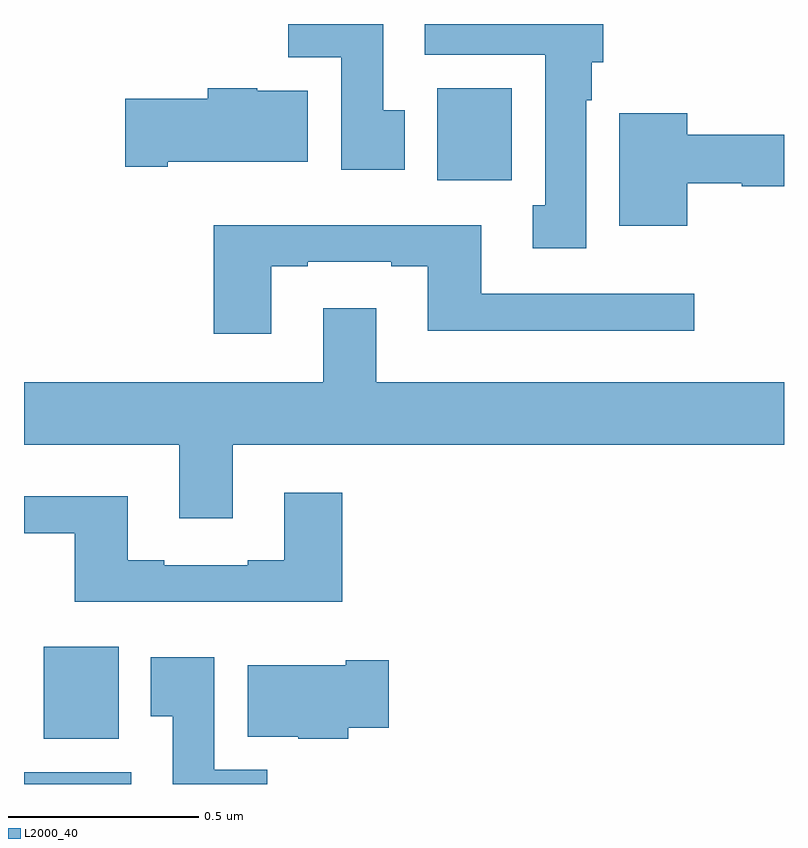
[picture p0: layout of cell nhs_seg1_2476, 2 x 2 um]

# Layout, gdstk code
import gdstk
lib = gdstk.Library(unit=1e-6, precision=1e-09)
def R(c, l, rs):  # rectangles x0, y0, x1, y1
    for r in rs: c.add(gdstk.rectangle(r[:2], r[2:], *l))
def P(c, l, *ps):  # polygons
    for p in ps: c.add(gdstk.Polygon(p, *l))
L2000_40 = (2000, 40)

nhs_seg1_2476 = lib.new_cell('nhs_seg1_2476')
R(nhs_seg1_2476, L2000_40, [(142,524.199,142.282,524.23), (142.052,524.318,142.249,524.56), (143.087,525.788,143.284,526.03)])
P(nhs_seg1_2476, L2000_40, [(143.479,525.998),(143.494,525.998),(143.494,526.098),(143.524,526.098),(143.524,526.199),(143.055,526.199),(143.055,526.118),(143.372,526.118),(143.372,525.722),(143.339,525.722),(143.339,525.609),(143.479,525.609)],
  [(143.002,525.972),(142.945,525.972),(142.945,526.199),(142.696,526.199),(142.696,526.112),(142.835,526.112),(142.835,525.816),(143.002,525.816)],
  [(142.378,525.836),(142.747,525.836),(142.747,526.024),(142.614,526.024),(142.614,526.03),(142.484,526.03),(142.484,526.002),(142.266,526.002),(142.266,525.824),(142.378,525.824)],
  [(143.746,525.78),(143.889,525.78),(143.889,525.772),(144,525.772),(144,525.908),(143.746,525.908),(143.746,525.964),(143.567,525.964),(143.567,525.668),(143.746,525.668)],
  [(142.651,525.561),(142.747,525.561),(142.747,525.573),(142.967,525.573),(142.967,525.561),(143.063,525.561),(143.063,525.392),(143.764,525.392),(143.764,525.489),(143.203,525.489),(143.203,525.67),(142.499,525.67),(142.499,525.384),(142.651,525.384)],
  [(142.549,525.092),(144,525.092),(144,525.256),(142.927,525.256),(142.927,525.451),(142.787,525.451),(142.787,525.256),(142,525.256),(142,525.092),(142.409,525.092),(142.409,524.898),(142.549,524.898)],
  [(142.838,524.965),(142.685,524.965),(142.685,524.788),(142.589,524.788),(142.589,524.775),(142.369,524.775),(142.369,524.788),(142.273,524.788),(142.273,524.956),(142,524.956),(142,524.859),(142.133,524.859),(142.133,524.678),(142.838,524.678)],
  [(142.64,524.236),(142.501,524.236),(142.501,524.533),(142.334,524.533),(142.334,524.377),(142.391,524.377),(142.391,524.199),(142.64,524.199)],
  [(142.853,524.347),(142.96,524.347),(142.96,524.525),(142.847,524.525),(142.847,524.512),(142.589,524.512),(142.589,524.324),(142.722,524.324),(142.722,524.318),(142.853,524.318)])

lib.write_gds('nhs_seg1_2476.gds')
